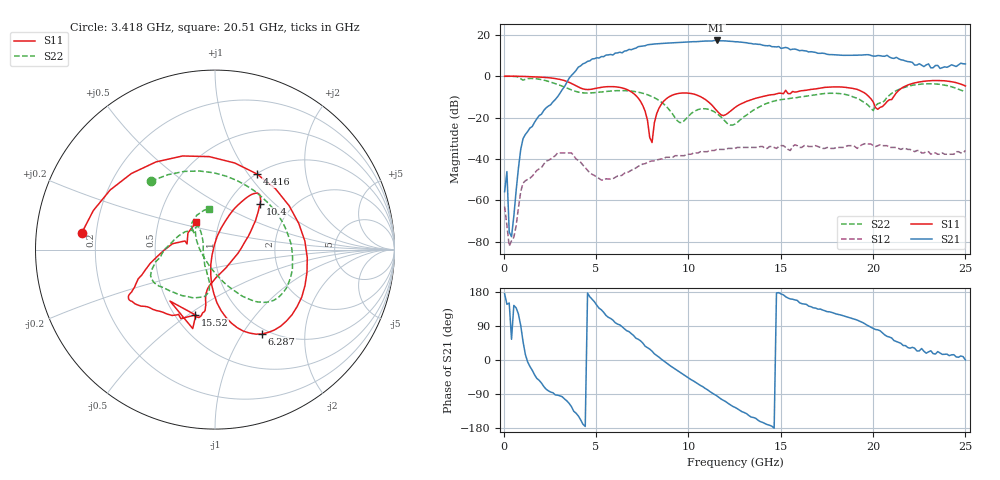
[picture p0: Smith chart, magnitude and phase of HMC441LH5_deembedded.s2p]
# MHZ S MA R 50
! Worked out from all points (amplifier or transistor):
!   201 points, 50 MHz to 25 GHz, reference 50 ohm
!   highest |S21| = 17.3 dB at 11.53 GHz (marker M1)
!   |S21| within 3 dB of that: 7.284 GHz to 14.52 GHz (7.234 GHz wide, 66.4 % of centre)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
!   unconditionally stable (mu >= 1): 795.7 MHz to end of sweep
!   at 4.167 GHz: K = 20.50, MAG = 7.2 dB, |S12| = -41.6 dB
!   at 12.53 GHz: K = 3.98, MAG = 16.9 dB, |S12| = -34.9 dB
!   at 25 GHz: K = 8.39, MAG = 8.7 dB, |S12| = -35.9 dB
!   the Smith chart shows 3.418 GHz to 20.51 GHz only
!   S11 on the Smith chart (normalised r, x): 3.418 GHz: 0.14, +0.06; 4.416 GHz: 1.00, +1.10; 6.287 GHz: 0.93, -1.23; 10.4 GHz: 1.40, +0.82; 15.52 GHz: 0.63, -0.53; 20.51 GHz: 0.78, +0.25
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50  0.999 -2.5  0.001619 175.0  0.0007088 -173.4  1 -3.4
174.75  1.002 -8.4  0.00494 147.0  0.0002465 28.4  1.003 -12.4
424.25  1.004 -20.6  0.0001318 54.7  0.0001044 -171.7  0.998 -29.5
1048  0.992 -51.2  0.031 48.5  0.002607 -137.6  0.805 -68.4
3418.25  0.749 173.1  0.708 -107.8  0.014 -12.1  0.522 133.0
4291.5  0.495 77.2  2.001 -169.5  0.007085 -102.0  0.397 64.0
4416.25  0.482 61.0  2.103 -175.4  0.006169 -109.9  0.394 56.1
6287.5  0.538 -61.0  3.826 92.6  0.003868 -152.7  0.45 -24.4
7410.25  0.247 -91.4  5.292 50.6  0.007085 -172.4  0.401 -47.2
8034  0.025 98.9  5.935 23.2  0.008921 173.0  0.321 -57.1
8408.25  0.169 70.0  6.161 7.5  0.009731 163.8  0.26 -64.0
9406.25  0.38 55.2  6.517 -28.1  0.012 146.3  0.084 -121.3
10404.25  0.359 45.4  6.858 -59.5  0.014 134.6  0.148 137.7
11527  0.149 4.5  7.351 -94.0  0.017 121.3  0.127 128.4
12525  0.176 -93.3  6.842 -125.0  0.018 111.2  0.07 -156.6
13897.25  0.315 -99.4  5.901 -162.7  0.02 102.0  0.187 -99.4
15519  0.38 -106.6  4.394 161.1  0.016 88.0  0.294 -113.8
16766.5  0.487 -138.4  3.858 137.6  0.02 88.7  0.35 -141.3
20509  0.186 124.2  3.064 71.4  0.021 59.2  0.229 97.8
20883.25  0.271 67.6  2.925 60.7  0.019 58.7  0.348 86.3
22380.25  0.712 41.6  1.879 23.6  0.016 40.1  0.63 66.3
25000  0.582 35.9  1.987 0.2  0.016 34.0  0.42 38.5
